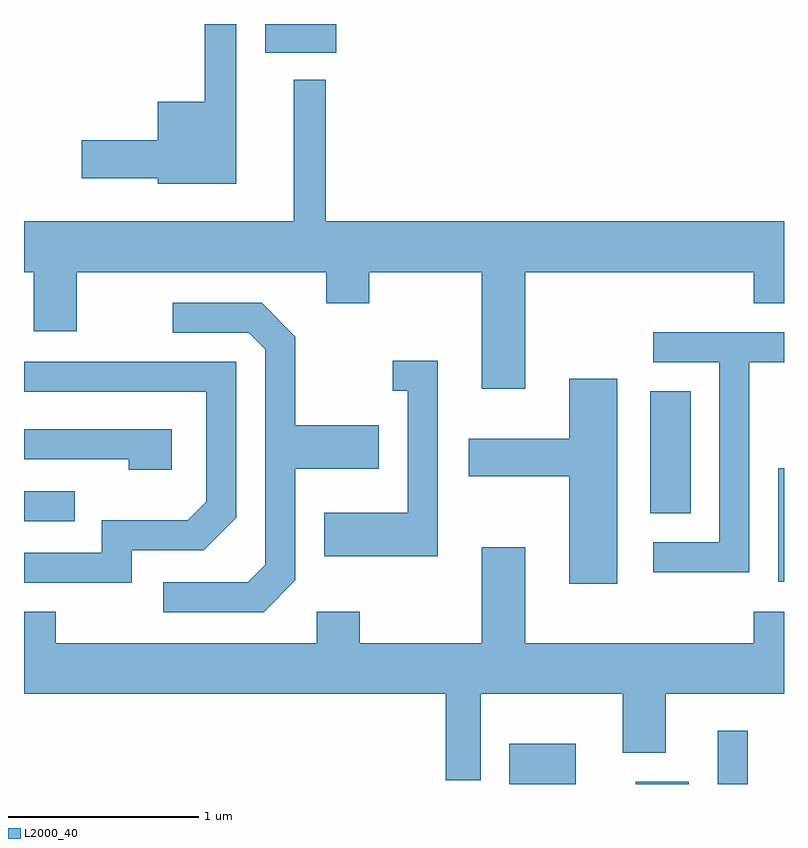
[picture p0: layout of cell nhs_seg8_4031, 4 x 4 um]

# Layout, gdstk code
import gdstk
lib = gdstk.Library(unit=1e-6, precision=1e-09)
def R(c, l, rs):  # rectangles x0, y0, x1, y1
    for r in rs: c.add(gdstk.rectangle(r[:2], r[2:], *l))
def P(c, l, *ps):  # polygons
    for p in ps: c.add(gdstk.Polygon(p, *l))
L2000_40 = (2000, 40)

nhs_seg8_4031 = lib.new_cell('nhs_seg8_4031')
R(nhs_seg8_4031, L2000_40, [(308.166,1880.342,308.514,1880.554), (308.831,1880.342,309.109,1880.354), (309.261,1880.342,309.419,1880.623), (309.581,1881.406,309.611,1882.004), (305.611,1881.726,305.878,1881.884), (308.906,1881.766,309.119,1882.409), (306.881,1884.191,307.254,1884.342)])
P(nhs_seg8_4031, L2000_40, [(306.729,1884.342),(306.561,1884.342),(306.561,1883.934),(306.316,1883.934),(306.316,1883.729),(305.916,1883.729),(305.916,1883.531),(306.316,1883.531),(306.316,1883.501),(306.729,1883.501)],
  [(308.249,1883.036),(309.451,1883.036),(309.451,1882.871),(309.611,1882.871),(309.611,1883.304),(307.199,1883.304),(307.199,1884.048),(307.031,1884.048),(307.031,1883.304),(305.611,1883.304),(305.611,1883.036),(305.661,1883.036),(305.661,1882.726),(305.889,1882.726),(305.889,1883.036),(307.201,1883.036),(307.201,1882.871),(307.429,1882.871),(307.429,1883.036),(308.021,1883.036),(308.021,1882.421),(308.249,1882.421)],
  [(307.039,1881.414),(307.039,1882.001),(307.479,1882.001),(307.479,1882.229),(307.039,1882.229),(307.039,1882.697),(306.862,1882.874),(306.393,1882.874),(306.393,1882.716),(306.794,1882.716),(306.881,1882.629),(306.881,1881.497),(306.789,1881.404),(306.343,1881.404),(306.343,1881.246),(306.872,1881.246)],
  [(309.429,1882.561),(309.611,1882.561),(309.611,1882.719),(308.923,1882.719),(308.923,1882.561),(309.271,1882.561),(309.271,1881.614),(308.923,1881.614),(308.923,1881.456),(309.429,1881.456)],
  [(307.789,1882.569),(307.553,1882.569),(307.553,1882.411),(307.631,1882.411),(307.631,1881.769),(307.191,1881.769),(307.191,1881.541),(307.789,1881.541)],
  [(306.179,1881.571),(306.557,1881.571),(306.729,1881.744),(306.729,1882.564),(305.611,1882.564),(305.611,1882.406),(306.571,1882.406),(306.571,1881.827),(306.474,1881.729),(306.021,1881.729),(306.021,1881.559),(305.611,1881.559),(305.611,1881.401),(306.179,1881.401)],
  [(308.734,1882.474),(308.481,1882.474),(308.481,1882.159),(307.951,1882.159),(307.951,1881.961),(308.481,1881.961),(308.481,1881.396),(308.734,1881.396)],
  [(306.389,1882.209),(305.611,1882.209),(305.611,1882.051),(306.161,1882.051),(306.161,1881.996),(306.389,1881.996)],
  [(308.014,1880.816),(308.761,1880.816),(308.761,1880.506),(308.989,1880.506),(308.989,1880.816),(309.611,1880.816),(309.611,1881.249),(309.451,1881.249),(309.451,1881.084),(308.249,1881.084),(308.249,1881.589),(308.021,1881.589),(308.021,1881.084),(307.379,1881.084),(307.379,1881.249),(307.151,1881.249),(307.151,1881.084),(305.779,1881.084),(305.779,1881.249),(305.611,1881.249),(305.611,1880.816),(307.831,1880.816),(307.831,1880.361),(308.014,1880.361)])

lib.write_gds('nhs_seg8_4031.gds')
